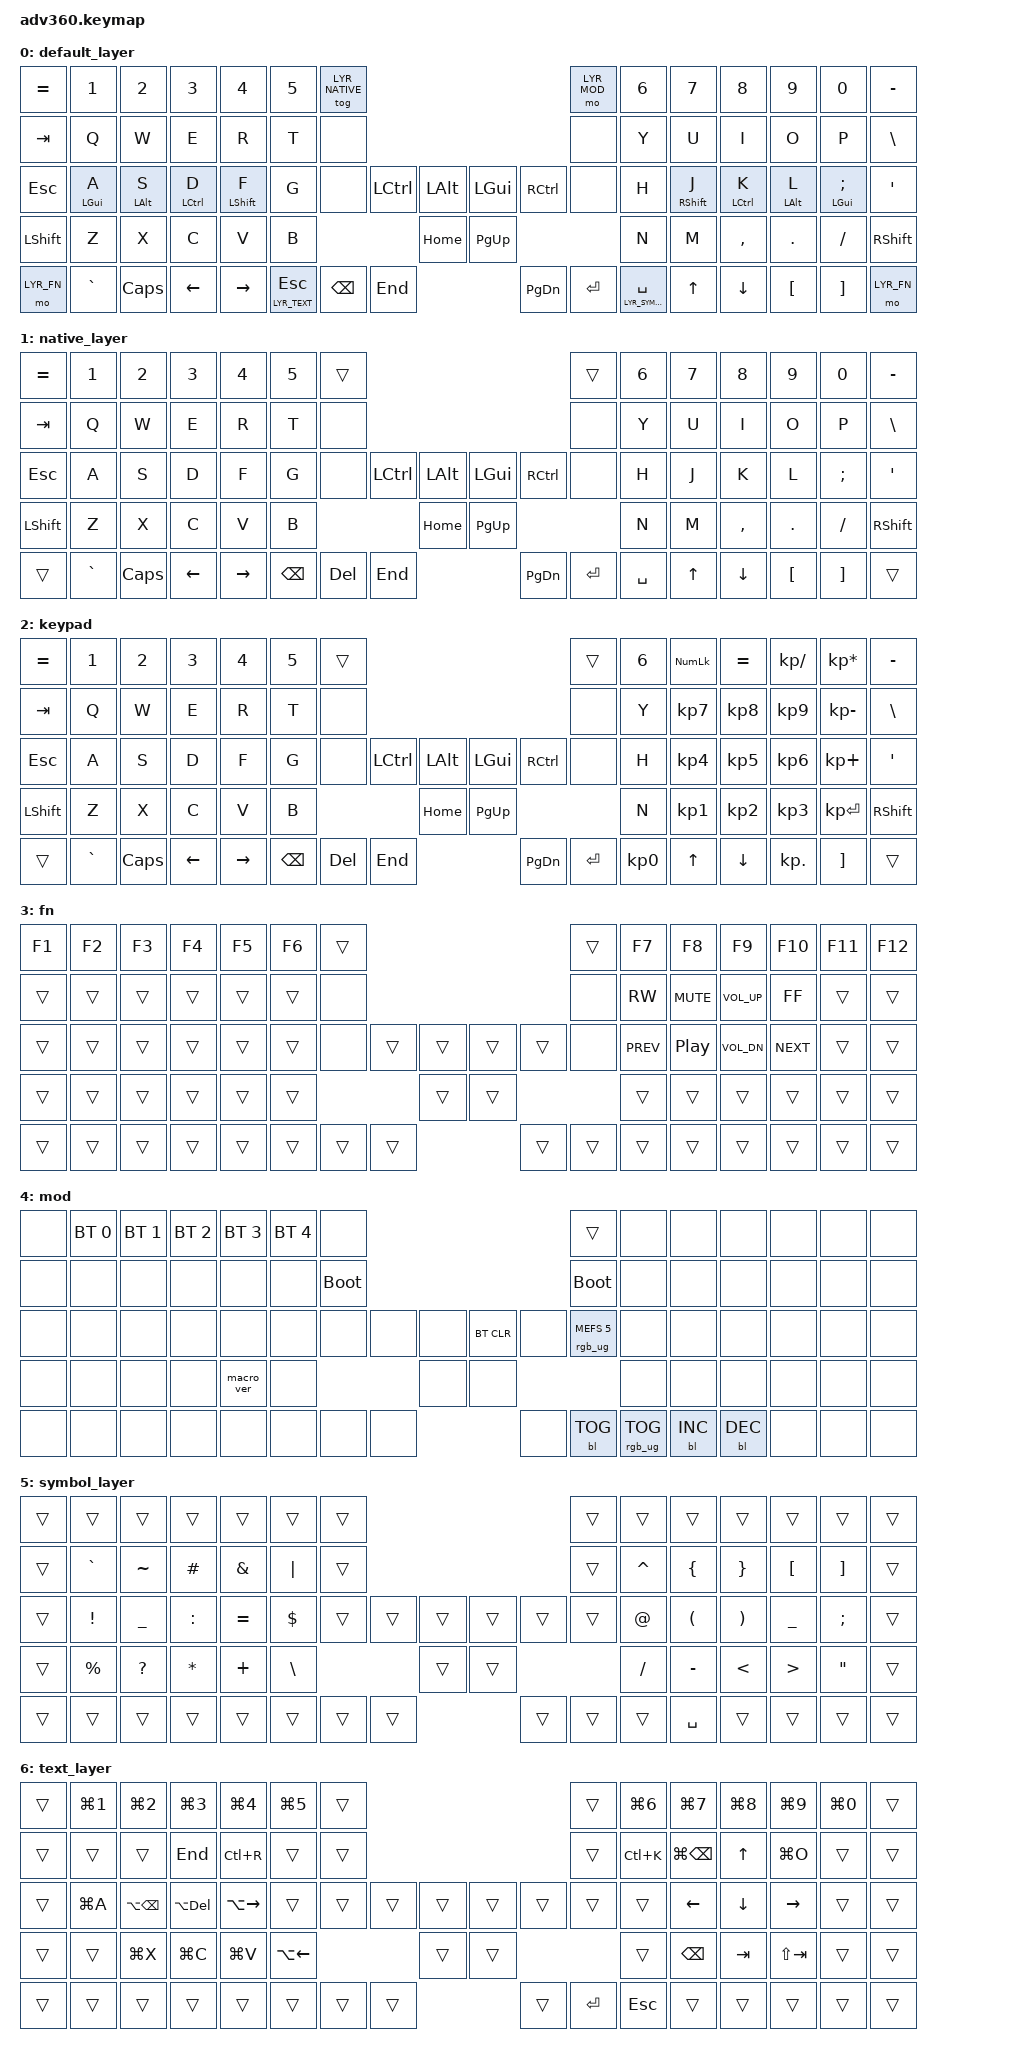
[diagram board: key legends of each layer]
#include <behaviors.dtsi>
#include <dt-bindings/zmk/keys.h>
#include <dt-bindings/zmk/bt.h>
#include <dt-bindings/zmk/rgb.h>
#include <dt-bindings/zmk/backlight.h>

#define KEYS_LEFT 0 1 2 3 4 5 6 \
                  14 15 16 17 18 19 20 \
                  28 29 30 31 32 33 34 \
                  46 47 48 49 50 51 \
                  66 67 68 69 70

#define KEYS_RIGHT 7 8 9 10 11 12 13 \
                   21 22 23 24 25 26 27 \
                   39 40 41 42 43 44 45 \
                   60 61 62 63 64 65 \
                   77 78 79 80 81

#define THUMBS_LEFT 35 36 54 71 72 73

#define THUMBS_RIGHT 37 38 57 74 75 76

#define THUMBS THUMBS_LEFT THUMBS_RIGHT

#define ___ &trans

#define HM_TAPPING_TERM 280
#define HM_QUICK_TAP 175
#define HM_PRIOR_IDLE 150

#define LYR_DEFAULT 0
#define LYR_NATIVE 1
#define LYR_NUMPAD 2
#define LYR_FN 3
#define LYR_MOD 4
#define LYR_SYMBOL 5
#define LYR_TEXT 6

/ {
    behaviors {
      #include "macros.dtsi"
      #include "version.dtsi"
      #ifndef VERSION_MACRO
      macro_ver: macro_ver {
        compatible = "zmk,behavior-macro";
        label = "macro_version";
        #binding-cells = <0>;
        bindings = <&kp RET>;
      };
      #endif

      hml: homerow_mods_left {
          compatible = "zmk,behavior-hold-tap";
          flavor = "balanced";
          label = "HOMEROW_MODS_LEFT";
          tapping-term-ms = <HM_TAPPING_TERM>;
          quick-tap-ms = <HM_QUICK_TAP>;
          require-prior-idle-ms = <HM_PRIOR_IDLE>;
          #binding-cells = <2>;
          bindings = <&kp>, <&kp>;
          hold-trigger-key-positions = <KEYS_RIGHT THUMBS>;
          hold-trigger-on-release;
      };

      hmr: homerow_mods_right {
          compatible = "zmk,behavior-hold-tap";
          flavor = "balanced";
          label = "HOMEROW_MODS_RIGHT";
          tapping-term-ms = <HM_TAPPING_TERM>;
          quick-tap-ms = <HM_QUICK_TAP>;
          require-prior-idle-ms = <HM_PRIOR_IDLE>;
          #binding-cells = <2>;
          bindings = <&kp>, <&kp>;
          hold-trigger-key-positions = <KEYS_LEFT THUMBS>;
          hold-trigger-on-release;
      };
    };

  keymap {
    compatible = "zmk,keymap";

    default_layer {
      bindings = <
//    ┌───────────┬─────────────┬─────────────┬─────────────┬─────────────┬───┬───────────────┐                                                                         ┌────────────┬───┬─────────────┬─────────────┬─────────────┬─────────────┬───────────┐
//    │     =     │      1      │      2      │      3      │      4      │ 5 │ tog LYR_N@IVE │                                                                         │ mo LYR_MOD │ 6 │      7      │      8      │      9      │      0      │     -     │
//    ├───────────┼─────────────┼─────────────┼─────────────┼─────────────┼───┼───────────────┤                                                                         ├────────────┼───┼─────────────┼─────────────┼─────────────┼─────────────┼───────────┤
//    │    tab    │      Q      │      W      │      E      │      R      │ T │               │                                                                         │            │ Y │      U      │      I      │      O      │      P      │     \     │
//    ├───────────┼─────────────┼─────────────┼─────────────┼─────────────┼───┼───────────────┤                 ┌──────┬──────┐       ┌──────┬──────┐                   ├────────────┼───┼─────────────┼─────────────┼─────────────┼─────────────┼───────────┤
//    │    esc    │ &hml lgui A │ &hml lalt S │ &hml lctl D │ &hml lsft F │ G │               │                 │ lctl │ lalt │       │ lgui │ rctl │                   │            │ H │ &hmr rsft J │ &hmr lctl K │ &hmr lalt L │ &hmr lgui ; │     '     │
//    ├───────────┼─────────────┼─────────────┼─────────────┼─────────────┼───┼───────────────┘                 └──────┼──────┤       ├──────┼──────┘                   └────────────┼───┼─────────────┼─────────────┼─────────────┼─────────────┼───────────┤
//    │   lsft    │      Z      │      X      │      C      │      V      │ B │                                        │ home │       │ pgup │                                       │ N │      M      │      ,      │      .      │      /      │   rsft    │
//    ├───────────┼─────────────┼─────────────┼─────────────┼─────────────┼───┘               ┌─────────────────┬──────┼──────┤       ├──────┼──────┬───────────────────┐            └───┼─────────────┼─────────────┼─────────────┼─────────────┼───────────┤
//    │ mo LYR_FN │      `      │    caps     │    left     │    rght     │                   │ lt LYR_TEXT esc │ bspc │ end  │       │ pgdn │ ent  │ lt LYR_SYMBOL spc │                │     up      │    down     │      [      │      ]      │ mo LYR_FN │
//    └───────────┴─────────────┴─────────────┴─────────────┴─────────────┘                   └─────────────────┴──────┴──────┘       └──────┴──────┴───────────────────┘                └─────────────┴─────────────┴─────────────┴─────────────┴───────────┘
  &kp EQUAL    &kp N1        &kp N2        &kp N3         &kp N4         &kp N5   &tog LYR_NATIVE                                                                                                    &mo LYR_MOD   &kp N6   &kp N7         &kp N8         &kp N9        &kp N0           &kp MINUS
  &kp TAB      &kp Q         &kp W         &kp E          &kp R          &kp T    &none                                                                                                              &none         &kp Y    &kp U          &kp I          &kp O         &kp P            &kp BSLH
  &kp ESC      &hml LGUI A   &hml LALT S   &hml LCTRL D   &hml LSHFT F   &kp G    &none                                &kp LCTRL   &kp LALT           &kp LGUI    &kp RCTRL                          &none         &kp H    &hmr RSHFT J   &hmr LCTRL K   &hmr LALT L   &hmr LGUI SEMI   &kp SQT
  &kp LSHFT    &kp Z         &kp X         &kp C          &kp V          &kp B                                                     &kp HOME           &kp PG_UP                                                    &kp N    &kp M          &kp COMMA      &kp DOT       &kp FSLH         &kp RSHFT
  &mo LYR_FN   &kp GRAVE     &kp CAPS      &kp LEFT       &kp RIGHT                                 &lt LYR_TEXT ESC   &kp BSPC    &kp END            &kp PG_DN   &kp ENTER   &lt LYR_SYMBOL SPACE                          &kp UP         &kp DOWN       &kp LBKT      &kp RBKT         &mo LYR_FN
      >;
    };
    native_layer {
      bindings = <
//    ┌──────┬───┬──────┬──────┬──────┬───┬─────┐                                                ┌─────┬───┬────┬──────┬───┬───┬──────┐
//    │  =   │ 1 │  2   │  3   │  4   │ 5 │ ___ │                                                │ ___ │ 6 │ 7  │  8   │ 9 │ 0 │  -   │
//    ├──────┼───┼──────┼──────┼──────┼───┼─────┤                                                ├─────┼───┼────┼──────┼───┼───┼──────┤
//    │ tab  │ Q │  W   │  E   │  R   │ T │     │                                                │     │ Y │ U  │  I   │ O │ P │  \   │
//    ├──────┼───┼──────┼──────┼──────┼───┼─────┤      ┌──────┬──────┐       ┌──────┬──────┐     ├─────┼───┼────┼──────┼───┼───┼──────┤
//    │ esc  │ A │  S   │  D   │  F   │ G │     │      │ lctl │ lalt │       │ lgui │ rctl │     │     │ H │ J  │  K   │ L │ ; │  '   │
//    ├──────┼───┼──────┼──────┼──────┼───┼─────┘      └──────┼──────┤       ├──────┼──────┘     └─────┼───┼────┼──────┼───┼───┼──────┤
//    │ lsft │ Z │  X   │  C   │  V   │ B │                   │ home │       │ pgup │                  │ N │ M  │  ,   │ . │ / │ rsft │
//    ├──────┼───┼──────┼──────┼──────┼───┘     ┌──────┬──────┼──────┤       ├──────┼──────┬─────┐     └───┼────┼──────┼───┼───┼──────┤
//    │ ___  │ ` │ caps │ left │ rght │         │ bspc │ del  │ end  │       │ pgdn │ ent  │ spc │         │ up │ down │ [ │ ] │ ___  │
//    └──────┴───┴──────┴──────┴──────┘         └──────┴──────┴──────┘       └──────┴──────┴─────┘         └────┴──────┴───┴───┴──────┘
  &kp EQUAL   &kp N1      &kp N2     &kp N3     &kp N4      &kp N5   ___                                                                                   ___     &kp N6   &kp N7   &kp N8      &kp N9     &kp N0     &kp MINUS
  &kp TAB     &kp Q       &kp W      &kp E      &kp R       &kp T    &none                                                                                 &none   &kp Y    &kp U    &kp I       &kp O      &kp P      &kp BSLH
  &kp ESC     &kp A       &kp S      &kp D      &kp F       &kp G    &none              &kp LCTRL   &kp LALT           &kp LGUI    &kp RCTRL               &none   &kp H    &kp J    &kp K       &kp L      &kp SEMI   &kp SQT
  &kp LSHFT   &kp Z       &kp X      &kp C      &kp V       &kp B                                   &kp HOME           &kp PG_UP                                   &kp N    &kp M    &kp COMMA   &kp DOT    &kp FSLH   &kp RSHFT
  ___         &kp GRAVE   &kp CAPS   &kp LEFT   &kp RIGHT                    &kp BSPC   &kp DEL     &kp END            &kp PG_DN   &kp ENTER   &kp SPACE                    &kp UP   &kp DOWN    &kp LBKT   &kp RBKT   ___
      >;
    };
    keypad {
      bindings = <
//    ┌──────┬───┬──────┬──────┬──────┬───┬─────┐                                              ┌─────┬───┬──────┬──────┬──────┬──────┬──────┐
//    │  =   │ 1 │  2   │  3   │  4   │ 5 │ ___ │                                              │ ___ │ 6 │ nlck │  =   │ kp_/ │ kp_* │  -   │
//    ├──────┼───┼──────┼──────┼──────┼───┼─────┤                                              ├─────┼───┼──────┼──────┼──────┼──────┼──────┤
//    │ tab  │ Q │  W   │  E   │  R   │ T │     │                                              │     │ Y │  7   │  8   │  9   │ kp_- │  \   │
//    ├──────┼───┼──────┼──────┼──────┼───┼─────┤      ┌──────┬──────┐       ┌──────┬──────┐   ├─────┼───┼──────┼──────┼──────┼──────┼──────┤
//    │ esc  │ A │  S   │  D   │  F   │ G │     │      │ lctl │ lalt │       │ lgui │ rctl │   │     │ H │  4   │  5   │  6   │ kp_+ │  '   │
//    ├──────┼───┼──────┼──────┼──────┼───┼─────┘      └──────┼──────┤       ├──────┼──────┘   └─────┼───┼──────┼──────┼──────┼──────┼──────┤
//    │ lsft │ Z │  X   │  C   │  V   │ B │                   │ home │       │ pgup │                │ N │  1   │  2   │  3   │ ent  │ rsft │
//    ├──────┼───┼──────┼──────┼──────┼───┘     ┌──────┬──────┼──────┤       ├──────┼──────┬───┐     └───┼──────┼──────┼──────┼──────┼──────┤
//    │ ___  │ ` │ caps │ left │ rght │         │ bspc │ del  │ end  │       │ pgdn │ ent  │ 0 │         │  up  │ down │ kp_. │  ]   │ ___  │
//    └──────┴───┴──────┴──────┴──────┘         └──────┴──────┴──────┘       └──────┴──────┴───┘         └──────┴──────┴──────┴──────┴──────┘
  &kp EQUAL   &kp N1      &kp N2     &kp N3     &kp N4      &kp N5   ___                                                                                   ___     &kp N6   &kp KP_NUM   &kp EQUAL   &kp KP_DIVIDE   &kp KP_MULTIPLY   &kp MINUS
  &kp TAB     &kp Q       &kp W      &kp E      &kp R       &kp T    &none                                                                                 &none   &kp Y    &kp KP_N7    &kp KP_N8   &kp KP_N9       &kp KP_MINUS      &kp BSLH
  &kp ESC     &kp A       &kp S      &kp D      &kp F       &kp G    &none              &kp LCTRL   &kp LALT           &kp LGUI    &kp RCTRL               &none   &kp H    &kp KP_N4    &kp KP_N5   &kp KP_N6       &kp KP_PLUS       &kp SQT
  &kp LSHFT   &kp Z       &kp X      &kp C      &kp V       &kp B                                   &kp HOME           &kp PG_UP                                   &kp N    &kp KP_N1    &kp KP_N2   &kp KP_N3       &kp KP_ENTER      &kp RSHFT
  ___         &kp GRAVE   &kp CAPS   &kp LEFT   &kp RIGHT                    &kp BSPC   &kp DEL     &kp END            &kp PG_DN   &kp ENTER   &kp KP_N0                    &kp UP       &kp DOWN    &kp KP_DOT      &kp RBKT          ___
      >;
    };
    fn {
      bindings = <
//    ┌─────┬─────┬─────┬─────┬─────┬─────┬─────┐                                           ┌─────┬──────┬──────┬──────┬──────┬─────┬─────┐
//    │ f1  │ f2  │ f3  │ f4  │ f5  │ f6  │ ___ │                                           │ ___ │  f7  │  f8  │  f9  │ f10  │ f11 │ f12 │
//    ├─────┼─────┼─────┼─────┼─────┼─────┼─────┤                                           ├─────┼──────┼──────┼──────┼──────┼─────┼─────┤
//    │ ___ │ ___ │ ___ │ ___ │ ___ │ ___ │     │                                           │     │  rw  │ mute │ volu │  ff  │ ___ │ ___ │
//    ├─────┼─────┼─────┼─────┼─────┼─────┼─────┤     ┌─────┬─────┐       ┌─────┬─────┐     ├─────┼──────┼──────┼──────┼──────┼─────┼─────┤
//    │ ___ │ ___ │ ___ │ ___ │ ___ │ ___ │     │     │ ___ │ ___ │       │ ___ │ ___ │     │     │ prev │ play │ vold │ next │ ___ │ ___ │
//    ├─────┼─────┼─────┼─────┼─────┼─────┼─────┘     └─────┼─────┤       ├─────┼─────┘     └─────┼──────┼──────┼──────┼──────┼─────┼─────┤
//    │ ___ │ ___ │ ___ │ ___ │ ___ │ ___ │                 │ ___ │       │ ___ │                 │ ___  │ ___  │ ___  │ ___  │ ___ │ ___ │
//    ├─────┼─────┼─────┼─────┼─────┼─────┘     ┌─────┬─────┼─────┤       ├─────┼─────┬─────┐     └──────┼──────┼──────┼──────┼─────┼─────┤
//    │ ___ │ ___ │ ___ │ ___ │ ___ │           │ ___ │ ___ │ ___ │       │ ___ │ ___ │ ___ │            │ ___  │ ___  │ ___  │ ___ │ ___ │
//    └─────┴─────┴─────┴─────┴─────┘           └─────┴─────┴─────┘       └─────┴─────┴─────┘            └──────┴──────┴──────┴─────┴─────┘
  &kp F1   &kp F2   &kp F3   &kp F4   &kp F5   &kp F6   ___                                                 ___     &kp F7       &kp F8             &kp F9         &kp F10      &kp F11   &kp F12
  ___      ___      ___      ___      ___      ___      &none                                               &none   &kp C_RW     &kp C_MUTE         &kp C_VOL_UP   &kp C_FF     ___       ___
  ___      ___      ___      ___      ___      ___      &none         ___   ___           ___   ___         &none   &kp C_PREV   &kp C_PLAY_PAUSE   &kp C_VOL_DN   &kp C_NEXT   ___       ___
  ___      ___      ___      ___      ___      ___                          ___           ___                       ___          ___                ___            ___          ___       ___
  ___      ___      ___      ___      ___                       ___   ___   ___           ___   ___   ___                        ___                ___            ___          ___       ___
      >;
    };
    mod {
      bindings = <
//    ┌─────┬──────────┬──────────┬──────────┬────────────┬──────────┬──────┐                                                      ┌──────────────────────┬─────┬─────────┬─────────┬─────┬─────┬─────┐
//    │     │ bt_sel 0 │ bt_sel 1 │ bt_sel 2 │  bt_sel 3  │ bt_sel 4 │      │                                                      │         ___          │     │         │         │     │     │     │
//    ├─────┼──────────┼──────────┼──────────┼────────────┼──────────┼──────┤                                                      ├──────────────────────┼─────┼─────────┼─────────┼─────┼─────┼─────┤
//    │     │          │          │          │            │          │ boot │                                                      │         boot         │     │         │         │     │     │     │
//    ├─────┼──────────┼──────────┼──────────┼────────────┼──────────┼──────┤     ┌─────┬─────┐       ┌────────┬─────────┐         ├──────────────────────┼─────┼─────────┼─────────┼─────┼─────┼─────┤
//    │     │          │          │          │            │          │      │     │     │     │       │ bt_clr │         │         │ ug_ rguiB_MEFS_CMD 5 │     │         │         │     │     │     │
//    ├─────┼──────────┼──────────┼──────────┼────────────┼──────────┼──────┘     └─────┼─────┤       ├────────┼─────────┘         └──────────────────────┼─────┼─────────┼─────────┼─────┼─────┼─────┤
//    │     │          │          │          │ &macro_ver │          │                  │     │       │        │                                          │     │         │         │     │     │     │
//    ├─────┼──────────┼──────────┼──────────┼────────────┼──────────┘      ┌─────┬─────┼─────┤       ├────────┼─────────┬─────────┐                      └─────┼─────────┼─────────┼─────┼─────┼─────┤
//    │     │          │          │          │            │                 │     │     │     │       │        │ bl_ tog │ ug_ tog │                            │ bl_ br+ │ bl_ br- │     │     │     │
//    └─────┴──────────┴──────────┴──────────┴────────────┘                 └─────┴─────┴─────┘       └────────┴─────────┴─────────┘                            └─────────┴─────────┴─────┴─────┴─────┘
  &none   &bt BT_SEL 0   &bt BT_SEL 1   &bt BT_SEL 2   &bt BT_SEL 3   &bt BT_SEL 4   &none                                                                                     ___                      &none   &none        &none        &none   &none   &none
  &none   &none          &none          &none          &none          &none          &bootloader                                                                               &bootloader              &none   &none        &none        &none   &none   &none
  &none   &none          &none          &none          &none          &none          &none                 &none   &none           &bt BT_CLR   &none                          &rgb_ug RGB_MEFS_CMD 5   &none   &none        &none        &none   &none   &none
  &none   &none          &none          &none          &macro_ver     &none                                        &none           &none                                                                &none   &none        &none        &none   &none   &none
  &none   &none          &none          &none          &none                                       &none   &none   &none           &none        &bl BL_TOG   &rgb_ug RGB_TOG                                    &bl BL_INC   &bl BL_DEC   &none   &none   &none
      >;
    };

    // copy from: https://www.reddit.com/r/ErgoMechKeyboards/comments/1cim5s9/comment/l2adh8g/
    symbol_layer {
      bindings = <
//    ┌─────┬─────┬─────┬─────┬─────┬─────┬─────┐                                           ┌─────┬─────┬─────┬─────┬─────┬─────┬─────┐
//    │ ___ │ ___ │ ___ │ ___ │ ___ │ ___ │ ___ │                                           │ ___ │ ___ │ ___ │ ___ │ ___ │ ___ │ ___ │
//    ├─────┼─────┼─────┼─────┼─────┼─────┼─────┤                                           ├─────┼─────┼─────┼─────┼─────┼─────┼─────┤
//    │ ___ │  `  │  ~  │  #  │  &  │  |  │ ___ │                                           │ ___ │  ^  │  {  │  }  │  [  │  ]  │ ___ │
//    ├─────┼─────┼─────┼─────┼─────┼─────┼─────┤     ┌─────┬─────┐       ┌─────┬─────┐     ├─────┼─────┼─────┼─────┼─────┼─────┼─────┤
//    │ ___ │  !  │  _  │  :  │  =  │  $  │ ___ │     │ ___ │ ___ │       │ ___ │ ___ │     │ ___ │  @  │  (  │  )  │  _  │  ;  │ ___ │
//    ├─────┼─────┼─────┼─────┼─────┼─────┼─────┘     └─────┼─────┤       ├─────┼─────┘     └─────┼─────┼─────┼─────┼─────┼─────┼─────┤
//    │ ___ │  %  │  ?  │  *  │  +  │  \  │                 │ ___ │       │ ___ │                 │  /  │  -  │  <  │  >  │  "  │ ___ │
//    ├─────┼─────┼─────┼─────┼─────┼─────┘     ┌─────┬─────┼─────┤       ├─────┼─────┬─────┐     └─────┼─────┼─────┼─────┼─────┼─────┤
//    │ ___ │ ___ │ ___ │ ___ │ ___ │           │ ___ │ ___ │ ___ │       │ ___ │ ___ │ ___ │           │ spc │ ___ │ ___ │ ___ │ ___ │
//    └─────┴─────┴─────┴─────┴─────┘           └─────┴─────┴─────┘       └─────┴─────┴─────┘           └─────┴─────┴─────┴─────┴─────┘
  ___   ___           ___         ___            ___         ___          ___                                               ___   ___         ___         ___        ___         ___        ___
  ___   &kp GRAVE     &kp TILDE   &kp HASH       &kp AMPS    &kp PIPE     ___                                               ___   &kp CARET   &kp LBRC    &kp RBRC   &kp LBKT    &kp RBKT   ___
  ___   &kp EXCL      &kp UNDER   &kp COLON      &kp EQUAL   &kp DOLLAR   ___         ___   ___           ___   ___         ___   &kp AT      &kp LPAR    &kp RPAR   &kp UNDER   &kp SEMI   ___
  ___   &kp PERCENT   &kp QMARK   &kp ASTERISK   &kp PLUS    &kp BSLH                       ___           ___                     &kp FSLH    &kp MINUS   &kp LT     &kp GT      &kp DQT    ___
  ___   ___           ___         ___            ___                            ___   ___   ___           ___   ___   ___                     &kp SPACE   ___        ___         ___        ___
      >;
    };

    // TODO: Need to tweak for VI movements and remove unused mappings
    text_layer {
      bindings = <
//    ┌─────┬─────────┬────────────┬───────────┬────────────┬────────────┬─────┐                                           ┌─────┬─────────┬────────────┬─────────┬───────────┬─────────┬─────┐
//    │ ___ │ lgui(1) │  lgui(2)   │  lgui(3)  │  lgui(4)   │  lgui(5)   │ ___ │                                           │ ___ │ lgui(6) │  lgui(7)   │ lgui(8) │  lgui(9)  │ lgui(0) │ ___ │
//    ├─────┼─────────┼────────────┼───────────┼────────────┼────────────┼─────┤                                           ├─────┼─────────┼────────────┼─────────┼───────────┼─────────┼─────┤
//    │ ___ │   ___   │    ___     │    end    │  lctl(R)   │    ___     │ ___ │                                           │ ___ │ lctl(K) │ lgui(bspc) │   up    │  lgui(O)  │   ___   │ ___ │
//    ├─────┼─────────┼────────────┼───────────┼────────────┼────────────┼─────┤     ┌─────┬─────┐       ┌─────┬─────┐     ├─────┼─────────┼────────────┼─────────┼───────────┼─────────┼─────┤
//    │ ___ │ lgui(A) │ lalt(bspc) │ lalt(del) │ lalt(rght) │    ___     │ ___ │     │ ___ │ ___ │       │ ___ │ ___ │     │ ___ │   ___   │    left    │  down   │   rght    │   ___   │ ___ │
//    ├─────┼─────────┼────────────┼───────────┼────────────┼────────────┼─────┘     └─────┼─────┤       ├─────┼─────┘     └─────┼─────────┼────────────┼─────────┼───────────┼─────────┼─────┤
//    │ ___ │   ___   │  lgui(X)   │  lgui(C)  │  lgui(V)   │ lalt(left) │                 │ ___ │       │ ___ │                 │   ___   │    bspc    │   tab   │ lsft(tab) │   ___   │ ___ │
//    ├─────┼─────────┼────────────┼───────────┼────────────┼────────────┘     ┌─────┬─────┼─────┤       ├─────┼─────┬─────┐     └─────────┼────────────┼─────────┼───────────┼─────────┼─────┤
//    │ ___ │   ___   │    ___     │    ___    │    ___     │                  │ ___ │ ___ │ ___ │       │ ___ │ ent │ esc │               │    ___     │   ___   │    ___    │   ___   │ ___ │
//    └─────┴─────────┴────────────┴───────────┴────────────┘                  └─────┴─────┴─────┘       └─────┴─────┴─────┘               └────────────┴─────────┴───────────┴─────────┴─────┘
  ___   &kp LG(N1)   &kp LG(N2)     &kp LG(N3)       &kp LG(N4)      &kp LG(N5)     ___                                                         ___   &kp LG(N6)   &kp LG(N7)     &kp LG(N8)   &kp LG(N9)    &kp LG(N0)   ___
  ___   ___          ___            &kp END          &kp LC(R)       ___            ___                                                         ___   &kp LC(K)    &kp LG(BSPC)   &kp UP       &kp LG(O)     ___          ___
  ___   &kp LG(A)    &kp LA(BSPC)   &kp LA(DELETE)   &kp LA(RIGHT)   ___            ___         ___   ___           ___   ___                   ___   ___          &kp LEFT       &kp DOWN     &kp RIGHT     ___          ___
  ___   ___          &kp LG(X)      &kp LG(C)        &kp LG(V)       &kp LA(LEFT)                     ___           ___                               ___          &kp BSPC       &kp TAB      &kp LS(TAB)   ___          ___
  ___   ___          ___            ___              ___                                  ___   ___   ___           ___   &kp ENTER   &kp ESC                      ___            ___          ___           ___          ___
      >;
    };

    // placeholder_layer {
    //   bindings = <
    //     ___    ___    ___    ___    ___    ___     ___                                             ___   ___    ___    ___    ___     ___     ___
    //     ___    ___    ___    ___    ___    ___     ___                                             ___   ___    ___    ___    ___     ___     ___
    //     ___    ___    ___    ___    ___    ___     ___          ___    ___    ___    ___           ___   ___    ___    ___    ___     ___     ___
    //     ___    ___    ___    ___    ___    ___                         ___    ___                        ___    ___    ___    ___     ___     ___
    //     ___    ___    ___    ___    ___                  ___    ___    ___    ___    ___    ___                 ___    ___    ___     ___     ___
    //   >;
    // };
  };
};
